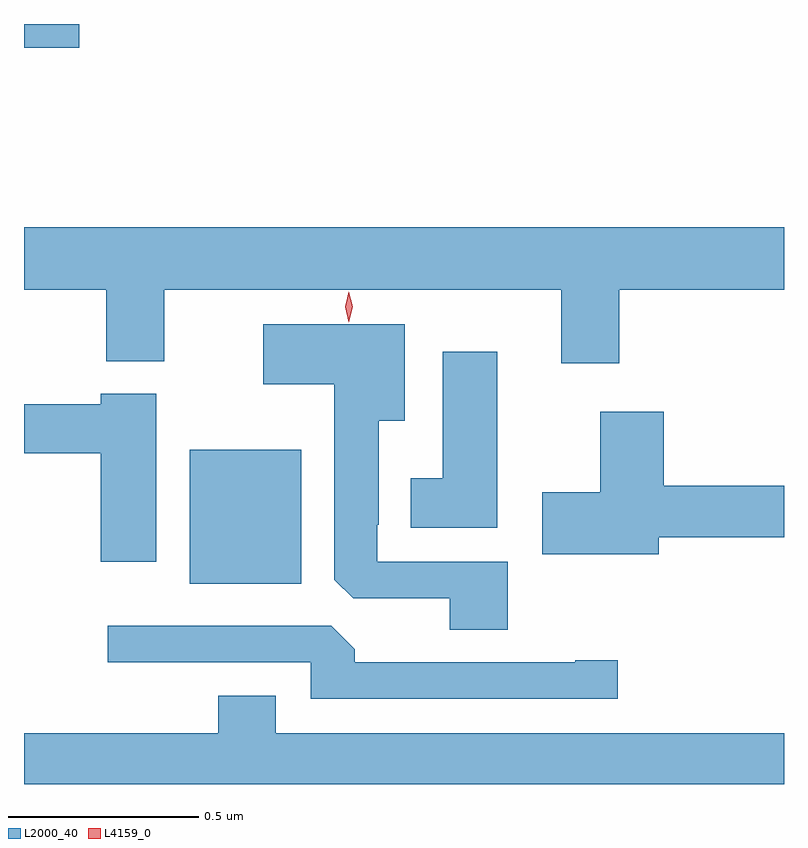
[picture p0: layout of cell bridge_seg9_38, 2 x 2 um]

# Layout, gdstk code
import gdstk
lib = gdstk.Library(unit=1e-6, precision=1e-09)
def R(c, l, rs):  # rectangles x0, y0, x1, y1
    for r in rs: c.add(gdstk.rectangle(r[:2], r[2:], *l))
def P(c, l, *ps):  # polygons
    for p in ps: c.add(gdstk.Polygon(p, *l))
L2000_40 = (2000, 40)
L4159_0 = (4159, 0)

bridge_seg9_38 = lib.new_cell('bridge_seg9_38')
R(bridge_seg9_38, L2000_40, [(972.998,1216.958,973.291,1217.311), (972.562,1218.369,972.707,1218.431)])
P(bridge_seg9_38, L2000_40, [(974.129,1217.732),(974.562,1217.732),(974.562,1217.896),(972.562,1217.896),(972.562,1217.732),(972.779,1217.732),(972.779,1217.543),(972.931,1217.543),(972.931,1217.732),(973.976,1217.732),(973.976,1217.538),(974.129,1217.538)],
  [(973.835,1217.016),(973.491,1217.016),(973.491,1217.113),(973.495,1217.113),(973.495,1217.387),(973.564,1217.387),(973.564,1217.641),(973.191,1217.641),(973.191,1217.483),(973.379,1217.483),(973.379,1216.969),(973.428,1216.92),(973.682,1216.92),(973.682,1216.837),(973.835,1216.837)],
  [(973.807,1217.569),(973.664,1217.569),(973.664,1217.236),(973.58,1217.236),(973.58,1217.105),(973.807,1217.105)],
  [(972.91,1217.458),(972.764,1217.458),(972.764,1217.431),(972.562,1217.431),(972.562,1217.302),(972.764,1217.302),(972.764,1217.016),(972.91,1217.016)],
  [(974.233,1217.08),(974.562,1217.08),(974.562,1217.216),(974.246,1217.216),(974.246,1217.41),(974.078,1217.41),(974.078,1217.199),(973.926,1217.199),(973.926,1217.036),(974.233,1217.036)],
  [(974.125,1216.757),(974.012,1216.757),(974.012,1216.752),(973.433,1216.752),(973.433,1216.786),(973.371,1216.848),(972.783,1216.848),(972.783,1216.752),(973.317,1216.752),(973.317,1216.656),(974.125,1216.656)],
  [(974.562,1216.564),(973.225,1216.564),(973.225,1216.663),(973.073,1216.663),(973.073,1216.564),(972.562,1216.564),(972.562,1216.431),(974.562,1216.431)])
P(bridge_seg9_38, L4159_0, [(973.417,1217.646),(973.417,1217.646),(973.407,1217.687),(973.417,1217.727),(973.417,1217.727),(973.417,1217.727),(973.427,1217.687),(973.417,1217.646)])

lib.write_gds('bridge_seg9_38.gds')
